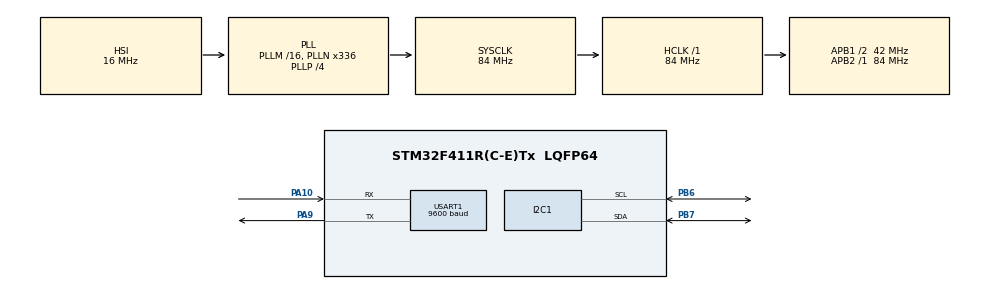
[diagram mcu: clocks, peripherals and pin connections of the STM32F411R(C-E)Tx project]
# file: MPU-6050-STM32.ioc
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Mcu.Family=STM32F4
Mcu.Name=STM32F411R(C-E)Tx
Mcu.Package=LQFP64
NVIC.PriorityGroup=NVIC_PRIORITYGROUP_0
PA10.Mode=Asynchronous
PA10.Signal=USART1_RX
PA9.Mode=Asynchronous
PA9.Signal=USART1_TX
PB6.Mode=I2C
PB6.Signal=I2C1_SCL
PB7.Mode=I2C
PB7.Signal=I2C1_SDA
ProjectManager.HeapSize=0x200
ProjectManager.StackSize=0x400
ProjectManager.TargetToolchain=STM32CubeIDE
RCC.48MHZClocksFreq_Value=84000000
RCC.AHBFreq_Value=84000000
RCC.APB1CLKDivider=RCC_HCLK_DIV2
RCC.APB1Freq_Value=42000000
RCC.APB1TimFreq_Value=84000000
RCC.APB2Freq_Value=84000000
RCC.APB2TimFreq_Value=84000000
RCC.CortexFreq_Value=84000000
RCC.FLatency-AdvancedSettings=FLASH_LATENCY_2
RCC.HCLKFreq_Value=84000000
RCC.HSE_VALUE=8000000
RCC.HSI_VALUE=16000000
RCC.PLLN=336
RCC.PLLP=RCC_PLLP_DIV4
RCC.SYSCLKFreq_VALUE=84000000
RCC.SYSCLKSource=RCC_SYSCLKSOURCE_PLLCLK
RCC.VCOOutputFreq_Value=336000000
USART1.BaudRate=9600
USART1.VirtualMode=VM_ASYNC
board=NUCLEO-F411RE

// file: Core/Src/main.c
/* USER CODE BEGIN Header */
/**
  ******************************************************************************
  * @file           : main.c
  * @brief          : Main program body
  ******************************************************************************
  * @attention
  *
  * Copyright (c) 2026 STMicroelectronics.
  * All rights reserved.
  *
  * This software is licensed under terms that can be found in the LICENSE file
  * in the root directory of this software component.
  * If no LICENSE file comes with this software, it is provided AS-IS.
  *
  ******************************************************************************
  */
/* USER CODE END Header */
#include "main.h"

/* USER CODE BEGIN Includes */
#include "stdio.h"
#include "string.h"
#include "mpu6050.h"

/* USER CODE END Includes */

/* USER CODE BEGIN PTD */
char txBuf[200];
uint8_t data[14];
int16_t Accel_X;
int16_t Accel_Y;
int16_t Accel_Z;
int16_t Gyro_X;
int16_t Gyro_Y;
int16_t Gyro_Z;

/* USER CODE END PTD */

I2C_HandleTypeDef hi2c1;

UART_HandleTypeDef huart1;

void SystemClock_Config(void);
static void MX_GPIO_Init(void);
static void MX_I2C1_Init(void);
static void MX_USART1_UART_Init(void);

int main(void)
{

  /* MCU Configuration--------------------------------------------------------*/

  /* Reset of all peripherals, Initializes the Flash interface and the Systick. */
  HAL_Init();

  /* Configure the system clock */
  SystemClock_Config();

  /* Initialize all configured peripherals */
  MX_GPIO_Init();
  MX_I2C1_Init();
  MX_USART1_UART_Init();
  /* USER CODE BEGIN 2 */
  MPU6050_Init();

      while(1)
      {
          MPU6050_Read();

          sprintf(txBuf,
                  "ACC X:%6d  Y:%6d  Z:%6d   GYRO X:%6d  Y:%6d  Z:%6d\r\n",
                  Accel_X,
                  Accel_Y,
                  Accel_Z,
                  Gyro_X,
                  Gyro_Y,
                  Gyro_Z);

          HAL_UART_Transmit(&huart1,
                            (uint8_t*)txBuf,
                            strlen(txBuf),
                            HAL_MAX_DELAY);

          HAL_Delay(200);
      }
  }
  /* USER CODE END 2 */

void SystemClock_Config(void)
{
  RCC_OscInitTypeDef RCC_OscInitStruct = {0};
  RCC_ClkInitTypeDef RCC_ClkInitStruct = {0};

  /** Configure the main internal regulator output voltage
  */
  __HAL_RCC_PWR_CLK_ENABLE();
  __HAL_PWR_VOLTAGESCALING_CONFIG(PWR_REGULATOR_VOLTAGE_SCALE1);

  /** Initializes the RCC Oscillators according to the specified parameters
  * in the RCC_OscInitTypeDef structure.
  */
  RCC_OscInitStruct.OscillatorType = RCC_OSCILLATORTYPE_HSI;
  RCC_OscInitStruct.HSIState = RCC_HSI_ON;
  RCC_OscInitStruct.HSICalibrationValue = RCC_HSICALIBRATION_DEFAULT;
  RCC_OscInitStruct.PLL.PLLState = RCC_PLL_ON;
  RCC_OscInitStruct.PLL.PLLSource = RCC_PLLSOURCE_HSI;
  RCC_OscInitStruct.PLL.PLLM = 16;
  RCC_OscInitStruct.PLL.PLLN = 336;
  RCC_OscInitStruct.PLL.PLLP = RCC_PLLP_DIV4;
  RCC_OscInitStruct.PLL.PLLQ = 4;
  if (HAL_RCC_OscConfig(&RCC_OscInitStruct) != HAL_OK)
  {
    Error_Handler();
  }

  /** Initializes the CPU, AHB and APB buses clocks
  */
  RCC_ClkInitStruct.ClockType = RCC_CLOCKTYPE_HCLK|RCC_CLOCKTYPE_SYSCLK
                              |RCC_CLOCKTYPE_PCLK1|RCC_CLOCKTYPE_PCLK2;
  RCC_ClkInitStruct.SYSCLKSource = RCC_SYSCLKSOURCE_PLLCLK;
  RCC_ClkInitStruct.AHBCLKDivider = RCC_SYSCLK_DIV1;
  RCC_ClkInitStruct.APB1CLKDivider = RCC_HCLK_DIV2;
  RCC_ClkInitStruct.APB2CLKDivider = RCC_HCLK_DIV1;

  if (HAL_RCC_ClockConfig(&RCC_ClkInitStruct, FLASH_LATENCY_2) != HAL_OK)
  {
    Error_Handler();
  }
}

static void MX_I2C1_Init(void)
{

  hi2c1.Instance = I2C1;
  hi2c1.Init.ClockSpeed = 100000;
  hi2c1.Init.DutyCycle = I2C_DUTYCYCLE_2;
  hi2c1.Init.OwnAddress1 = 0;
  hi2c1.Init.AddressingMode = I2C_ADDRESSINGMODE_7BIT;
  hi2c1.Init.DualAddressMode = I2C_DUALADDRESS_DISABLE;
  hi2c1.Init.OwnAddress2 = 0;
  hi2c1.Init.GeneralCallMode = I2C_GENERALCALL_DISABLE;
  hi2c1.Init.NoStretchMode = I2C_NOSTRETCH_DISABLE;
  if (HAL_I2C_Init(&hi2c1) != HAL_OK)
  {
    Error_Handler();
  }

}

static void MX_USART1_UART_Init(void)
{

  huart1.Instance = USART1;
  huart1.Init.BaudRate = 9600;
  huart1.Init.WordLength = UART_WORDLENGTH_8B;
  huart1.Init.StopBits = UART_STOPBITS_1;
  huart1.Init.Parity = UART_PARITY_NONE;
  huart1.Init.Mode = UART_MODE_TX_RX;
  huart1.Init.HwFlowCtl = UART_HWCONTROL_NONE;
  huart1.Init.OverSampling = UART_OVERSAMPLING_16;
  if (HAL_UART_Init(&huart1) != HAL_OK)
  {
    Error_Handler();
  }

}

static void MX_GPIO_Init(void)
{

  /* GPIO Ports Clock Enable */
  __HAL_RCC_GPIOA_CLK_ENABLE();
  __HAL_RCC_GPIOB_CLK_ENABLE();

}

void Error_Handler(void)
{
  __disable_irq();
  while (1)
  {
  }
}
